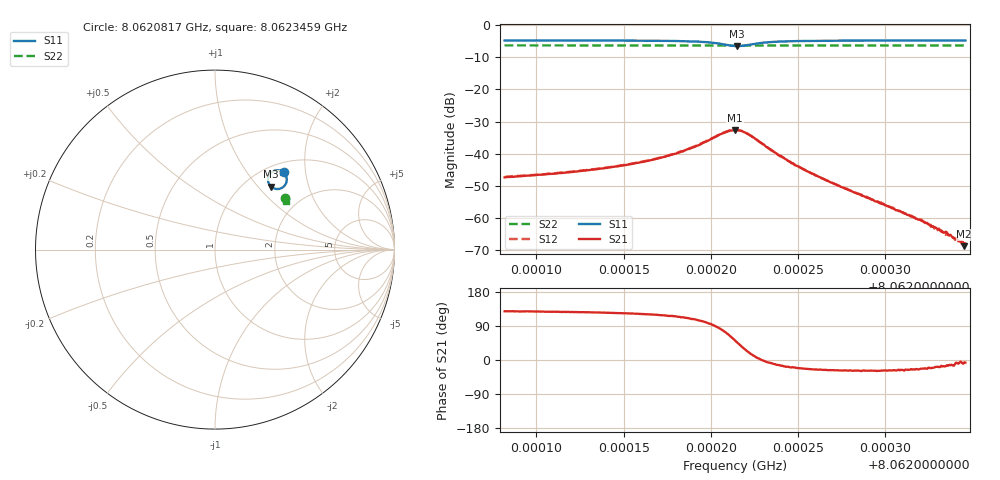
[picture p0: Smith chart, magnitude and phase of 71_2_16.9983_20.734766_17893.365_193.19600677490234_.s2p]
#  HZ  S  RI  R  50.00
! Rohde & Schwarz Vector Network Analyzer
! Rohde-Schwarz,ZNB20-2Port,1311601062101988,3.16
! Created: UTC 3/20/2024, 10:55:13 PM
! freq[Hz]  re:S11  im:S11  re:S21  im:S21  re:S12  im:S12  re:S22  im:S22
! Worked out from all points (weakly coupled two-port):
!   401 points, 8.0620817 GHz to 8.0623459 GHz, reference 50 ohm
!   highest |S21| = -32.64 dB at 8.0622138 GHz (marker M1); lowest = -68.7 dB at 8.0623453 GHz (marker M2)
!   lowest |S11| = -6.6 dB at 8.0622152 GHz (marker M3), VSWR 2.77, Z = 65.6 + j58.9 ohm
!   |S11| at or under -10 dB: nowhere
!   |S22| runs from -6.4 to -6.3 dB; largest |S21 - S12| = 0.0018
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8.06208175e9  0.3826 0.4297  -0.00268 0.00334  -0.00254 0.00355  0.3885 0.2856
8.062126e9  0.3881 0.4233  -0.00321 0.00437  -0.00298 0.00462  0.39 0.2831
8.06215176e9  0.3926 0.4167  -0.00366 0.00564  -0.00333 0.00594  0.3908 0.2816
8.06217025e9  0.3968 0.4078  -0.00407 0.00747  -0.00369 0.0078  0.3915 0.2804
8.06218478e9  0.3997 0.3941  -0.00415 0.0103  -0.00357 0.0106  0.3917 0.279
8.06219271e9  0.3992 0.3808  -0.00347 0.013  -0.0028 0.0134  0.3918 0.2781
8.06219931e9  0.3933 0.3644  -0.00165 0.0163  -0.000727 0.0167  0.3915 0.2773
8.06220856e9  0.3592 0.3387  0.00643 0.0207  0.00805 0.0205  0.3899 0.2763
8.06221384e9  0.3218 0.3441  0.0144 0.0184  0.0159 0.0174  0.3888 0.2768
8.06221516e9  0.3132 0.3503  0.0161 0.0166  0.0173 0.0157  0.3884 0.2772
8.06222045e9  0.2955 0.385  0.0188 0.00862  0.0196 0.00733  0.3883 0.2787
8.06223102e9  0.3155 0.4311  0.0134 -0.000748  0.0132 -0.00155  0.3902 0.2798
8.06224753e9  0.3463 0.4421  0.0065 -0.00234  0.00638 -0.00278  0.3923 0.279
8.0622581e9  0.3563 0.4414  0.00445 -0.00204  0.00434 -0.00231  0.393 0.2784
8.06227395e9  0.3653 0.4392  0.00278 -0.00145  0.0027 -0.00163  0.3939 0.2774
8.06230235e9  0.374 0.4353  0.00133 -0.000687  0.00127 -0.000793  0.395 0.2758
8.06232018e9  0.3773 0.4334  0.000855 -0.000364  0.000839 -0.000451  0.3956 0.2748
8.06233603e9  0.3798 0.4318  0.000527 -0.000143  0.000523 -0.00017  0.3962 0.274
8.06233867e9  0.38 0.4316  0.000481 -0.000124  0.000488 -0.00014  0.3964 0.2737
8.06234264e9  0.3806 0.4311  0.000436 -4.75e-05  0.000416 -0.000139  0.3965 0.2737
8.06234528e9  0.3809 0.431  0.000364 -3.97e-05  0.000366 -9.28e-05  0.3967 0.2735
8.06234594e9  0.381 0.431  0.0004 -4.84e-05  0.000377 -6.7e-05  0.3967 0.2734
